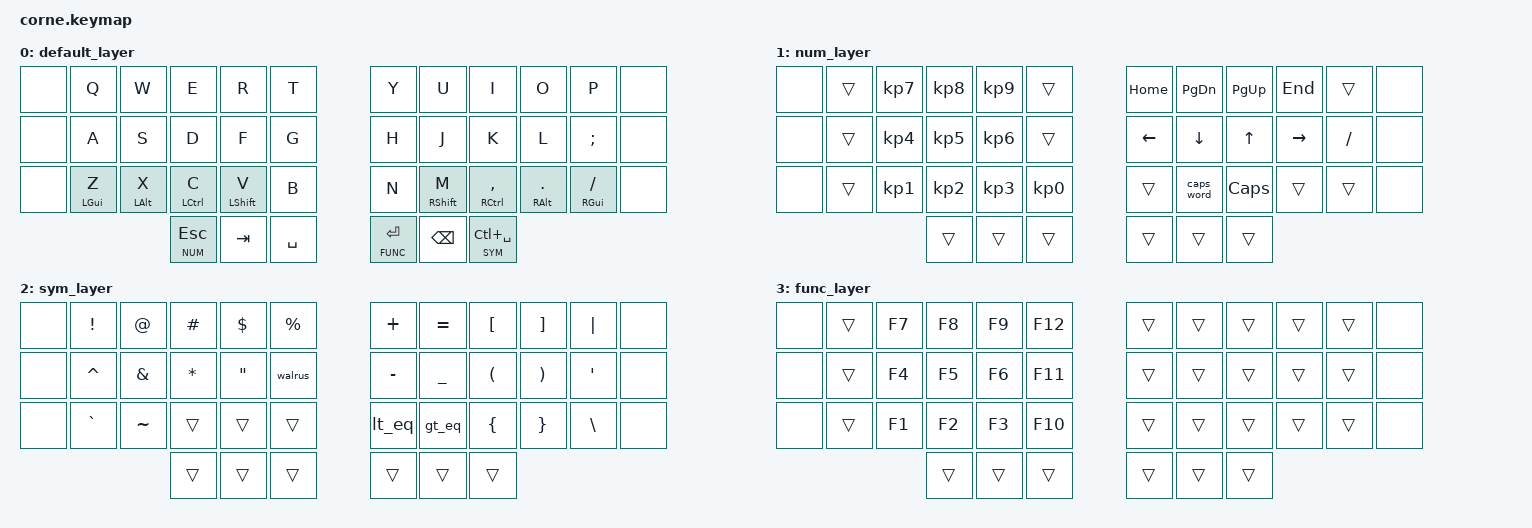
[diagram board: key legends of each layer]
/*
 * Copyright (c) 2020 The ZMK Contributors
 * SPDX-License-Identifier: MIT
 *
 * Corne 36-key keymap
 * Layout structure from: https://github.com/lwalter/zmk-config/blob/main/config/corne.keymap
 * Behavior internals translated from: https://github.com/qmk/qmk_firmware/blob/c34493050911f197b7b26839c2633fadf4505a07/keyboards/moonlander/keymaps/lwalter/keymap.c
 *
 * ── QMK → ZMK translation ────────────────────────────────────────────────────
 * TAPPING_TERM 170ms          → tapping-term-ms = <170> (lt_std / layer taps)
 * TAPPING_TERM_PER_KEY 85ms   → tapping-term-ms = <85>  (lt_fast, thumb layer keys)
 * PERMISSIVE_HOLD             → flavor = "balanced"
 * Achordion bilateral rule    → hold-trigger-key-positions (opposite hand only)
 * achordion_timeout = 800ms   → tapping-term-ms = <800> on hm_l / hm_r
 * achordion_timeout = 0       → lt_fast (no bilateral restriction on thumb keys)
 * Achordion streak timeout    → require-prior-idle-ms = <100>
 * Custom keycodes LT_EQ/GT_EQ/WALRUS → ZMK macros
 * DANCE_0 (tap=Ctrl+Space, hold=SYM) → lt_fast SYM LC(SPACE)
 * ─────────────────────────────────────────────────────────────────────────────
 */

#include <behaviors.dtsi>
#include <dt-bindings/zmk/keys.h>
#include <dt-bindings/zmk/bt.h>
#include "zmk-helpers/helper.h"
#include "zmk-helpers/key-labels/36.h"

/* Named key-position sets from zmk-helpers (used in hold-trigger-key-positions) */
#define KEYS_L LT0 LT1 LT2 LT3 LT4 LM0 LM1 LM2 LM3 LM4 LB0 LB1 LB2 LB3 LB4
#define KEYS_R RT0 RT1 RT2 RT3 RT4 RM0 RM1 RM2 RM3 RM4 RB0 RB1 RB2 RB3 RB4
#define THUMBS LH2 LH1 LH0 RH0 RH1 RH2

/* Layer indices */
#define DEFAULT 0
#define NUM     1
#define SYM     2
#define FUNC    3

/ {
    /* ── Macros ──────────────────────────────────────────────────────────── */
    macros {
        lt_eq: lt_eq {
            compatible = "zmk,behavior-macro";
            #binding-cells = <0>;
            bindings = <&kp LT &kp EQUAL>;
        };

        gt_eq: gt_eq {
            compatible = "zmk,behavior-macro";
            #binding-cells = <0>;
            bindings = <&kp GT &kp EQUAL>;
        };

        walrus: walrus {
            compatible = "zmk,behavior-macro";
            #binding-cells = <0>;
            bindings = <&kp COLON &kp EQUAL>;
        };
    };

    /* ── Behaviors ───────────────────────────────────────────────────────── */
    behaviors {

        /*
         * hm_l / hm_r — Home-row mods (bottom row: Z/X/C/V and M/,/./slash)
         *
         * achordion_timeout = 800ms → tapping-term-ms = <800>
         * PERMISSIVE_HOLD           → flavor = "balanced"
         * Achordion bilateral rule  → hold-trigger-key-positions = opposite hand
         * Achordion streak timeout  → require-prior-idle-ms = <100>
         * hold-trigger-on-release   → matches Achordion's event-plumbing
         *
         * Thumbs are included in both sets so mod+thumb combos work
         * (mirrors the achordion_chord exception for thumb keys).
         */
        hm_l: hm_left {
            compatible = "zmk,behavior-hold-tap";
            #binding-cells = <2>;
            tapping-term-ms = <800>;
            flavor = "balanced";
            require-prior-idle-ms = <100>;
            hold-trigger-key-positions = <KEYS_R THUMBS>;
            hold-trigger-on-release;
            bindings = <&kp>, <&kp>;
        };

        hm_r: hm_right {
            compatible = "zmk,behavior-hold-tap";
            #binding-cells = <2>;
            tapping-term-ms = <800>;
            flavor = "balanced";
            require-prior-idle-ms = <100>;
            hold-trigger-key-positions = <KEYS_L THUMBS>;
            hold-trigger-on-release;
            bindings = <&kp>, <&kp>;
        };

        /*
         * lt_std — Layer-tap at standard tapping term (170ms)
         * Used for &lt FUNC RET (not in Achordion's timeout=0 list).
         * PERMISSIVE_HOLD → flavor = "balanced"
         */
        lt_std: lt_std {
            compatible = "zmk,behavior-hold-tap";
            #binding-cells = <2>;
            tapping-term-ms = <170>;
            flavor = "balanced";
            bindings = <&mo>, <&kp>;
        };

        /*
         * lt_fast — Layer-tap at fast tapping term (85ms), no bilateral rule.
         *
         * achordion_timeout = 0 in QMK for LT(NUM, ESC) and DANCE_0:
         * these thumb keys bypass Achordion entirely and settle immediately.
         * TAPPING_TERM_PER_KEY gives them 85ms.
         *
         * DANCE_0: single-tap = Ctrl+Space, hold = SYM layer.
         * → &lt_fast SYM LC(SPACE)
         */
        lt_fast: lt_fast {
            compatible = "zmk,behavior-hold-tap";
            #binding-cells = <2>;
            tapping-term-ms = <85>;
            flavor = "balanced";
            bindings = <&mo>, <&kp>;
        };
    };

    /* ── Keymap ──────────────────────────────────────────────────────────── */
    keymap {
        compatible = "zmk,keymap";

        /*
         * DEFAULT
         * ┌─────┬─────┬─────┬─────┬─────┐   ┌─────┬─────┬─────┬─────┬─────┐
         * │  Q  │  W  │  E  │  R  │  T  │   │  Y  │  U  │  I  │  O  │  P  │
         * ├─────┼─────┼─────┼─────┼─────┤   ├─────┼─────┼─────┼─────┼─────┤
         * │  A  │  S  │  D  │  F  │  G  │   │  H  │  J  │  K  │  L  │  ;  │
         * ├─────┼─────┼─────┼─────┼─────┤   ├─────┼─────┼─────┼─────┼─────┤
         * │GUI/Z│ALT/X│CTL/C│SFT/V│  B  │   │  N  │SFT/M│CTL/,│ALT/.│GUI//│
         * └─────┴─────┴─┬───┴──┬──┴──┬──┘   └──┬──┴──┬──┴──┬──┴─────┴─────┘
         *               │NUM/  │ TAB │SPC│   │FUNC/ │BSPC │SYM/  │
         *               │ ESC  │     │   │   │ RET  │     │GRAVE │
         *               └──────┴─────┴───┘   └──────┴─────┴──────┘
         *
         * Left thumbs:  &lt_fast NUM ESC | &kp TAB | &kp SPACE
         * Right thumbs: &lt_std FUNC RET | &kp BSPC | &lt_fast SYM LC(SPACE)
         *
         * Note: SYM thumb replicates DANCE_0 (tap=Ctrl+Space, hold=SYM).
         * GRAVE is moved to the SYM layer; the outer &none guards match
         * the original file's 42-key padding style.
         */
        default_layer {
            bindings = <
&none  &kp Q          &kp W          &kp E            &kp R           &kp T      &kp Y   &kp U           &kp I              &kp O           &kp P            &none
&none  &kp A          &kp S          &kp D            &kp F           &kp G      &kp H   &kp J           &kp K              &kp L           &kp SEMI         &none
&none  &hm_l LGUI Z   &hm_l LALT X   &hm_l LCTRL C    &hm_l LSHFT V   &kp B      &kp N   &hm_r RSHFT M   &hm_r RCTRL COMMA  &hm_r RALT DOT  &hm_r RGUI FSLH  &none
                                     &lt_fast NUM ESC  &kp TAB         &kp SPACE  &lt_std FUNC RET  &kp BSPC  &lt_fast SYM LC(SPACE)
            >;
        };

        /*
         * NUM — numbers (numpad layout) + navigation
         * ┌─────┬─────┬─────┬─────┬─────┐   ┌─────┬─────┬─────┬─────┬─────┐
         * │     │  7  │  8  │  9  │     │   │HOME │PGDN │PGUP │ END │     │
         * ├─────┼─────┼─────┼─────┼─────┤   ├─────┼─────┼─────┼─────┼─────┤
         * │     │  4  │  5  │  6  │     │   │  ←  │  ↓  │  ↑  │  →  │  /  │
         * ├─────┼─────┼─────┼─────┼─────┤   ├─────┼─────┼─────┼─────┼─────┤
         * │     │  1  │  2  │  3  │  0  │   │     │CAPW │CAPS │     │     │
         * └─────┴─────┴─┬───┴──┬──┴──┬──┘   └──┬──┴──┬──┴──┬──┴─────┴─────┘
         *               │     │     │     │   │     │     │     │
         *               └─────┴─────┴─────┘   └─────┴─────┴─────┘
         */
        num_layer {
            bindings = <
&none  &trans  &kp KP_N7  &kp KP_N8  &kp KP_N9  &trans      &kp HOME  &kp PG_DN   &kp PG_UP  &kp END    &trans      &none
&none  &trans  &kp KP_N4  &kp KP_N5  &kp KP_N6  &trans      &kp LEFT  &kp DOWN    &kp UP     &kp RIGHT  &kp SLASH   &none
&none  &trans  &kp KP_N1  &kp KP_N2  &kp KP_N3  &kp KP_N0   &trans    &caps_word  &kp CAPS   &trans     &trans      &none
                           &trans     &trans      &trans      &trans    &trans      &trans
            >;
        };

        /*
         * SYM — symbols
         * ┌─────┬─────┬─────┬─────┬─────┐   ┌─────┬─────┬─────┬─────┬─────┐
         * │  !  │  @  │  #  │  $  │  %  │   │  +  │  =  │  [  │  ]  │  |  │
         * ├─────┼─────┼─────┼─────┼─────┤   ├─────┼─────┼─────┼─────┼─────┤
         * │  ^  │  &  │  *  │  "  │ :=  │   │  -  │  _  │  (  │  )  │  '  │
         * ├─────┼─────┼─────┼─────┼─────┤   ├─────┼─────┼─────┼─────┼─────┤
         * │  `  │  ~  │     │     │     │   │ <=  │ >=  │  {  │  }  │  \  │
         * └─────┴─────┴─┬───┴──┬──┴──┬──┘   └──┬──┴──┬──┴──┬──┴─────┴─────┘
         *               │     │     │     │   │     │     │     │
         *               └─────┴─────┴─────┘   └─────┴─────┴─────┘
         */
        sym_layer {
            bindings = <
&none  &kp EXCL   &kp AT    &kp HASH  &kp DLLR  &kp PRCNT   &kp PLUS   &kp EQUAL  &kp LBKT  &kp RBKT  &kp PIPE   &none
&none  &kp CARET  &kp AMPS  &kp STAR  &kp DQT   &walrus     &kp MINUS  &kp UNDER  &kp LPAR  &kp RPAR  &kp SQT    &none
&none  &kp GRAVE  &kp TILDE &trans    &trans    &trans      &lt_eq     &gt_eq     &kp LBRC  &kp RBRC  &kp BSLH   &none
                             &trans   &trans    &trans      &trans     &trans     &trans
            >;
        };

        /*
         * FUNC — F-keys (numpad layout)
         * ┌─────┬─────┬─────┬─────┬─────┐   ┌─────┬─────┬─────┬─────┬─────┐
         * │     │ F7  │ F8  │ F9  │ F12 │   │     │     │     │     │     │
         * ├─────┼─────┼─────┼─────┼─────┤   ├─────┼─────┼─────┼─────┼─────┤
         * │     │ F4  │ F5  │ F6  │ F11 │   │     │     │     │     │     │
         * ├─────┼─────┼─────┼─────┼─────┤   ├─────┼─────┼─────┼─────┼─────┤
         * │     │ F1  │ F2  │ F3  │ F10 │   │     │     │     │     │     │
         * └─────┴─────┴─┬───┴──┬──┴──┬──┘   └──┬──┴──┬──┴──┬──┴─────┴─────┘
         *               │     │     │     │   │     │     │     │
         *               └─────┴─────┴─────┘   └─────┴─────┴─────┘
         */
        func_layer {
            bindings = <
&none  &trans  &kp F7  &kp F8  &kp F9  &kp F12   &trans  &trans  &trans  &trans  &trans  &none
&none  &trans  &kp F4  &kp F5  &kp F6  &kp F11   &trans  &trans  &trans  &trans  &trans  &none
&none  &trans  &kp F1  &kp F2  &kp F3  &kp F10   &trans  &trans  &trans  &trans  &trans  &none
                        &trans  &trans  &trans    &trans  &trans  &trans
            >;
        };
    };
};
